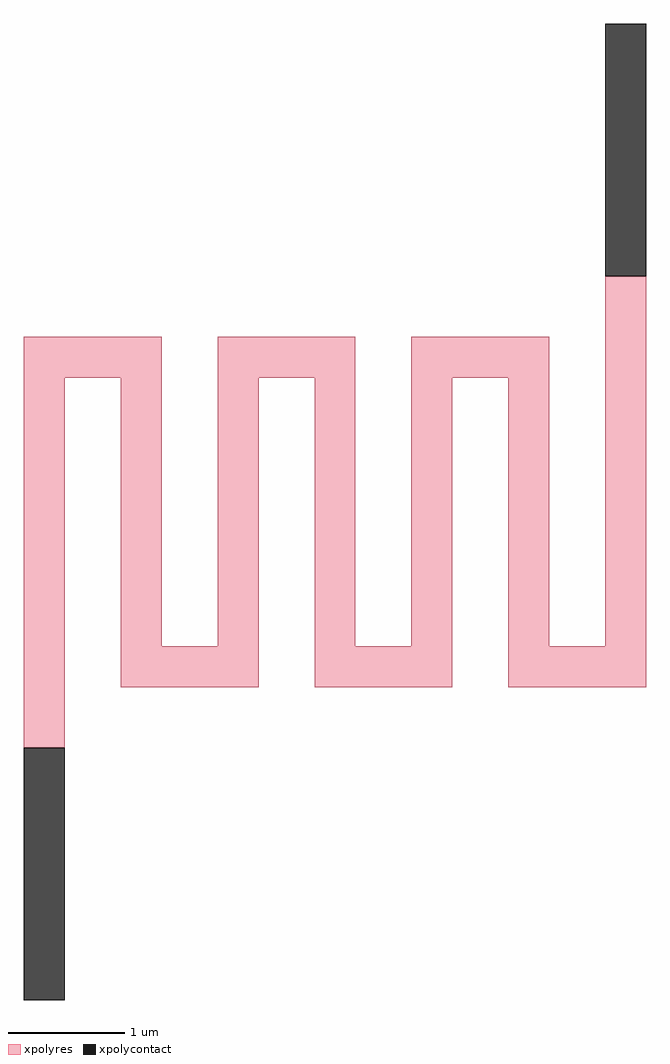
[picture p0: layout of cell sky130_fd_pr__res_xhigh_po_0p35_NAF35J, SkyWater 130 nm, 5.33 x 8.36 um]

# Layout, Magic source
magic
tech sky130A
magscale 1 2
<< xpolycontact >>
rect 463 404 533 836
rect -533 -836 -463 -404
<< xpolyres >>
rect -533 230 -297 300
rect -533 -404 -463 230
rect -367 -230 -297 230
rect -201 230 35 300
rect -201 -230 -131 230
rect -367 -300 -131 -230
rect -35 -230 35 230
rect 131 230 367 300
rect 131 -230 201 230
rect -35 -300 201 -230
rect 297 -230 367 230
rect 463 -230 533 404
rect 297 -300 533 -230
<< properties >>
string gencell sky130_fd_pr__res_xhigh_po_0p35
string library sky130
string parameters w 0.35 l 3 m 1 nx 7 wmin 0.350 lmin 0.50 rho 2000 val 133.075k dummy 0 dw 0.0 term 188.2 sterm 0.0 caplen 0 wmax 0.350 guard 0 glc 0 grc 0 gtc 0 gbc 0 compatible {sky130_fd_pr__res_xhigh_po_0p35  sky130_fd_pr__res_xhigh_po_0p69 sky130_fd_pr__res_xhigh_po_1p41  sky130_fd_pr__res_xhigh_po_2p85 sky130_fd_pr__res_xhigh_po_5p73} snake 1 full_metal 0 n_guard 0 hv_guard 0 vias 1 viagb 0 viagt 0 viagl 0 viagr 0
<< end >>
